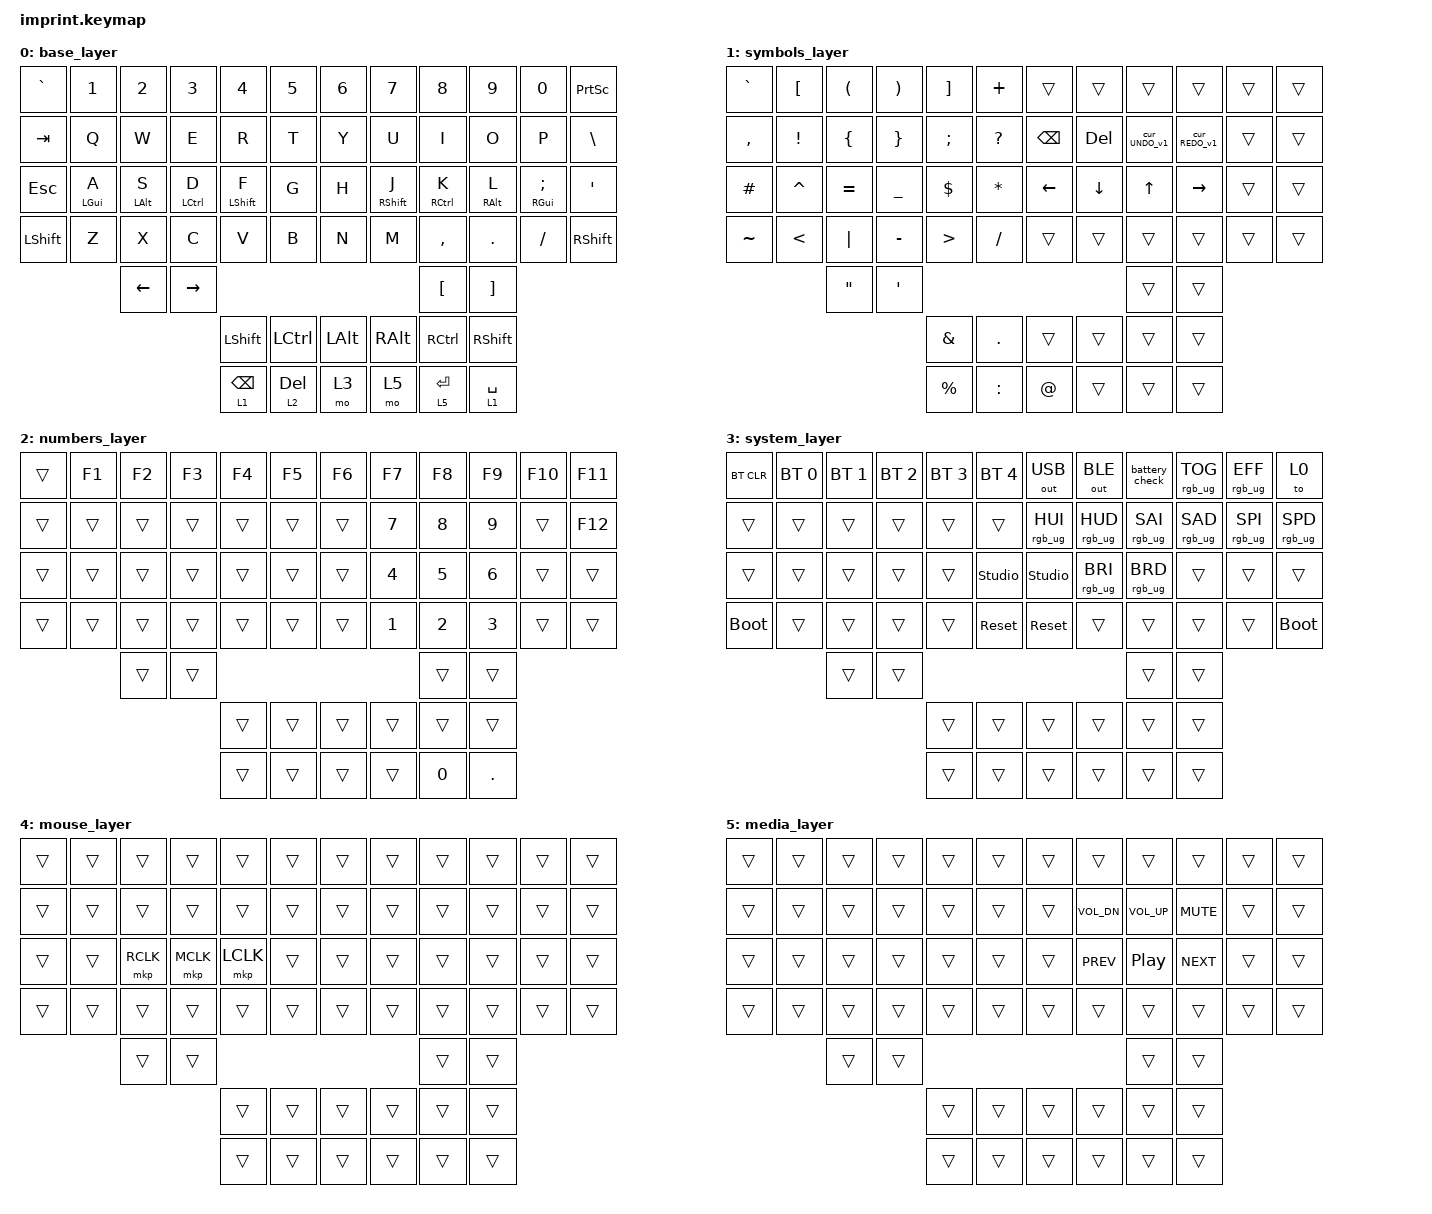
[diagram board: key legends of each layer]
#include <input/processors.dtsi>
#include <dt-bindings/zmk/input_transform.h>
#include <behaviors.dtsi>
#include <dt-bindings/zmk/bt.h>
#include <dt-bindings/zmk/keys.h>
#include <dt-bindings/zmk/outputs.h>
#include <dt-bindings/zmk/pointing.h>
#include <dt-bindings/zmk/rgb.h>

/ {
    chosen { zmk,physical-layout = &physical_layout_imprint_number_row; };

    // -------------------------------------------------------------------------
    // Layer map:
    // 0 base_layer         typing, HRMs, and thumb layer access
    // 1 symbols_layer      symbols on left, light editing/navigation on right
    // 2 numbers_layer      F-keys and right-hand numpad
    // 3 system_layer       Bluetooth, output, RGB, Studio, reset/bootloader
    // 4 mouse_layer        left-hand mouse buttons
    // 5 media_layer        right-hand media controls
    // -------------------------------------------------------------------------
    // -------------------------------------------------------------------------
    // Behaviors
    // -------------------------------------------------------------------------

    behaviors {
        // Caps Word combo behavior.

        CAPSWord_v1: CAPSWord_v1 {
            compatible = "zmk,behavior-hold-tap";
            #binding-cells = <2>;
            tapping-term-ms = <200>;
            bindings = <&kp>, <&caps_word>;
        };

        // Home-row mods are split by side/finger so each can tune timing and opposite-hand triggers.

        HRM_left_index_v1: HRM_left_index_v1 {
            compatible = "zmk,behavior-hold-tap";
            #binding-cells = <2>;
            tapping-term-ms = <170>;
            bindings = <&kp>, <&kp>;

            flavor = "tap-preferred";
            quick-tap-ms = <300>;
            require-prior-idle-ms = <100>;
            hold-trigger-key-positions = <45 44 43 60 61 62 4 5 6 7 8 16 17 18 19 20 28 29 30 31 32 46 47 48 49 50 63 9 21 33 51 40 41 42 58 59 57>;
            hold-trigger-on-release;
        };

        HRM_left_middy_v1: HRM_left_middy_v1 {
            compatible = "zmk,behavior-hold-tap";
            #binding-cells = <2>;
            tapping-term-ms = <210>;
            bindings = <&kp>, <&kp>;

            flavor = "tap-preferred";
            quick-tap-ms = <300>;
            require-prior-idle-ms = <150>;
            hold-trigger-key-positions = <45 44 43 60 61 62 4 5 6 7 8 16 17 18 19 20 28 29 30 31 32 46 47 48 49 50 63 9 21 33 51 40 41 42 57 58 59>;
            hold-trigger-on-release;
        };

        HRM_left_pinky_v1: HRM_left_pinky_v1 {
            compatible = "zmk,behavior-hold-tap";
            #binding-cells = <2>;
            tapping-term-ms = <210>;
            bindings = <&kp>, <&kp>;

            flavor = "tap-preferred";
            quick-tap-ms = <300>;
            require-prior-idle-ms = <150>;
            hold-trigger-key-positions = <45 44 43 60 61 62 4 5 6 7 8 9 17 18 19 20 21 30 31 32 33 48 49 50 51 16 28 29 46 47 63 40 41 42 57 58 59>;
            hold-trigger-on-release;
        };

        HRM_left_ring_v1: HRM_left_ring_v1 {
            compatible = "zmk,behavior-hold-tap";
            #binding-cells = <2>;
            tapping-term-ms = <200>;
            bindings = <&kp>, <&kp>;

            flavor = "tap-preferred";
            quick-tap-ms = <300>;
            require-prior-idle-ms = <150>;
            hold-trigger-key-positions = <45 44 43 60 61 62 4 5 6 7 8 16 17 18 19 20 28 29 30 31 32 46 47 48 49 50 63 9 21 33 51 40 41 42 57 58 59>;
            hold-trigger-on-release;
        };

        HRM_right_index_v1: HRM_right_index_v1 {
            compatible = "zmk,behavior-hold-tap";
            #binding-cells = <2>;
            tapping-term-ms = <170>;
            bindings = <&kp>, <&kp>;

            flavor = "tap-preferred";
            quick-tap-ms = <300>;
            require-prior-idle-ms = <100>;
            hold-trigger-key-positions = <40 41 42 59 58 57 0 1 2 10 11 12 13 14 15 22 23 24 25 26 27 34 35 36 37 38 39 52 53 54 55 56 3 43 44 45 60 61 62>;
            hold-trigger-on-release;
        };

        HRM_right_middy_v1: HRM_right_middy_v1 {
            compatible = "zmk,behavior-hold-tap";
            #binding-cells = <2>;
            tapping-term-ms = <210>;
            bindings = <&kp>, <&kp>;

            flavor = "tap-preferred";
            quick-tap-ms = <300>;
            require-prior-idle-ms = <150>;
            hold-trigger-key-positions = <40 41 42 59 58 57 0 1 2 10 11 12 13 14 15 22 23 24 25 26 27 34 35 36 37 38 39 52 53 54 55 56 3 43 44 45 60 61 62>;
            hold-trigger-on-release;
        };

        HRM_right_pinky_v1: HRM_right_pinky_v1 {
            compatible = "zmk,behavior-hold-tap";
            #binding-cells = <2>;
            tapping-term-ms = <210>;
            bindings = <&kp>, <&kp>;

            flavor = "tap-preferred";
            quick-tap-ms = <300>;
            require-prior-idle-ms = <150>;
            hold-trigger-key-positions = <40 41 42 59 58 57 0 1 2 10 11 12 13 14 15 22 23 24 25 26 27 34 35 36 37 38 39 52 53 54 55 56 3 43 44 45 60 61 62>;
            hold-trigger-on-release;
        };

        HRM_right_ring_v1: HRM_right_ring_v1 {
            compatible = "zmk,behavior-hold-tap";
            #binding-cells = <2>;
            tapping-term-ms = <200>;
            bindings = <&kp>, <&kp>;

            flavor = "tap-preferred";
            quick-tap-ms = <300>;
            require-prior-idle-ms = <150>;
            hold-trigger-key-positions = <40 41 42 59 58 57 0 1 2 10 11 12 13 14 15 22 23 24 25 26 27 34 35 36 37 38 39 52 53 54 55 56 3 43 44 45 60 61 62>;
            hold-trigger-on-release;
        };

        space_v1: space_v1 {
            compatible = "zmk,behavior-hold-tap";
            #binding-cells = <2>;
            tapping-term-ms = <200>;
            bindings = <&mo>, <&kp>;

            flavor = "balanced";
            quick-tap-ms = <150>;
            retro-tap;
        };

        thumb_v1: thumb_v1 {
            compatible = "zmk,behavior-hold-tap";
            #binding-cells = <2>;
            tapping-term-ms = <170>;
            bindings = <&mo>, <&kp>;

            flavor = "balanced";
            quick-tap-ms = <300>;
        };
    };

    // -------------------------------------------------------------------------
    // Combos
    // -------------------------------------------------------------------------

    combos {
        compatible = "zmk,combos";

        // Bottom thumb row pair.

        capsword {
            bindings = <&CAPSWord_v1 LSHIFT 0>;
            key-positions = <52 57>;
        };
    };

    // -------------------------------------------------------------------------
    // Macros
    // -------------------------------------------------------------------------

    macros {
        cur_UNDO_v1: cur_UNDO_v1 {
            label = "&CUR_UNDO_V1";
            compatible = "zmk,behavior-macro";
            #binding-cells = <0>;
            bindings = <&kp LC(Z)>;
        };

        cur_REDO_v1: cur_REDO_v1 {
            label = "&CUR_REDO_V1";
            compatible = "zmk,behavior-macro";
            #binding-cells = <0>;
            bindings = <&kp LC(Y)>;
        };

        battery_check: battery_check {
            label = "BATTERY_CHECK";
            compatible = "zmk,behavior-macro";
            #binding-cells = <0>;
            bindings =
                <&rgb_ug RGB_COLOR_HSB(120,100,50)>,
                <&macro_pause_for_release>,
                <&rgb_ug RGB_TOG>;
        };
    };

    // -------------------------------------------------------------------------
    // Keymap
    // -------------------------------------------------------------------------

    keymap {
        compatible = "zmk,keymap";

        // Base typing layer. Thumb holds: symbols, numbers, system, media, and mouse.
        // ,-------------------------------------------------.                 ,-------------------------------------------------.
        // |   `   |   1   |   2   |   3   |   4   |   5   |                 |   6   |   7   |   8   |   9   |   0   |  PSCR |
        // |-------+-------+-------+-------+-------+-------|                 |-------+-------+-------+-------+-------+-------|
        // |  TAB  |   Q   |   W   |   E   |   R   |   T   |                 |   Y   |   U   |   I   |   O   |   P   |   \   |
        // |-------+-------+-------+-------+-------+-------|                 |-------+-------+-------+-------+-------+-------|
        // |  ESC  | GUI/A | ALT/S | CTL/D | SFT/F |   G   |                 |   H   | SFT/J | CTL/K | ALT/L | GUI/; |   '   |
        // |-------+-------+-------+-------+-------+-------|                 |-------+-------+-------+-------+-------+-------|
        // | LSHFT |   Z   |   X   |   C   |   V   |   B   |                 |   N   |   M   |   ,   |   .   |   /   | RSHFT |
        // `---------------+-------+-------+---------------'                 `---------------+-------+-------+---------------'
        //                 | LEFT  | RIGHT |                                                   |   [   |   ]   |
        //                 `---------------'                 ,-------------------------------. `---------------'
        //                                                   | LSHFT | LCTRL | LALT  | RALT  | RCTRL | RSHFT |
        //                                                   |-------+-------+-------+-------+-------+-------|
        //                                                   | SYM/B | NUM/D |  SYS  | MEDIA | MED/E | SYM/SP|
        //                                                   `-----------------------------------------------'

        base_layer {
            bindings = <
&kp GRAVE   &kp N1                     &kp N2                    &kp N3                      &kp N4                       &kp N5                              &kp N6         &kp N7                             &kp N8                       &kp N9                     &kp N0                         &kp PRINTSCREEN
&kp TAB     &kp Q                      &kp W                     &kp E                       &kp R                        &kp T                               &kp Y          &kp U                              &kp I                        &kp O                      &kp P                          &kp BSLH
&kp ESCAPE  &HRM_left_pinky_v1 LGUI A  &HRM_left_ring_v1 LALT S  &HRM_left_middy_v1 LCTRL D  &HRM_left_index_v1 LSHIFT F  &kp G                               &kp H          &HRM_right_index_v1 RIGHT_SHIFT J  &HRM_right_middy_v1 RCTRL K  &HRM_right_ring_v1 RALT L  &HRM_right_pinky_v1 RGUI SEMI  &kp SQT
&kp LSHFT   &kp Z                      &kp X                     &kp C                       &kp V                        &kp B                               &kp N          &kp M                              &kp COMMA                    &kp DOT                    &kp FSLH                       &kp RSHFT
                                       &kp LEFT                  &kp RIGHT                                                                                                                                      &kp LEFT_BRACKET             &kp RIGHT_BRACKET
                                                                                             &kp LEFT_SHIFT               &kp LCTRL           &kp LEFT_ALT    &kp RIGHT_ALT  &kp RIGHT_CONTROL                  &kp RIGHT_SHIFT
                                                                                             &thumb_v1 1 BACKSPACE        &thumb_v1 2 DELETE  &mo 3           &mo 5          &thumb_v1 5 ENTER                  &space_v1 1 SPACE
            >;
        };

        // Symbols on the left half. Right half keeps only basic edit/nav keys that are used.
        // ,-------------------------------------------------.                 ,-------------------------------------------------.
        // |   `   |   [   |   (   |   )   |   ]   |   +   |                 | trans | trans | trans | trans | trans | trans |
        // |-------+-------+-------+-------+-------+-------|                 |-------+-------+-------+-------+-------+-------|
        // |   ,   |   !   |   {   |   }   |   ;   |   ?   |                 | BSPC  |  DEL  | UNDO  | REDO  | trans | trans |
        // |-------+-------+-------+-------+-------+-------|                 |-------+-------+-------+-------+-------+-------|
        // |   #   |   ^   |   =   |   _   |   $   |   *   |                 | LEFT  | DOWN  |  UP   | RIGHT | trans | trans |
        // |-------+-------+-------+-------+-------+-------|                 |-------+-------+-------+-------+-------+-------|
        // |   ~   |   <   |   |   |   -   |   >   |   /   |                 | trans | trans | trans | trans | trans | trans |
        // `---------------+-------+-------+---------------'                 `---------------+-------+-------+---------------'
        //                 |   "   |   '   |                                                   | trans | trans |
        //                 `---------------'                 ,-------------------------------. `---------------'
        //                                                   |   &   |   .   | trans | trans | trans | trans |
        //                                                   |-------+-------+-------+-------+-------+-------|
        //                                                   |   %   |   :   |   @   | trans | trans | trans |
        //                                                   `-----------------------------------------------'

        symbols_layer {
            bindings = <
&kp GRAVE  &kp LBKT   &kp LPAR           &kp RPAR   &kp RBKT       &kp PLUS                  &trans    &trans    &trans        &trans        &trans  &trans
&kp COMMA  &kp EXCL   &kp LBRC           &kp RBRC   &kp SEMI       &kp QMARK                 &kp BSPC  &kp DEL   &cur_UNDO_v1  &cur_REDO_v1  &trans  &trans
&kp HASH   &kp CARET  &kp EQUAL          &kp UNDER  &kp DLLR       &kp ASTRK                 &kp LEFT  &kp DOWN  &kp UP        &kp RIGHT     &trans  &trans
&kp TILDE  &kp LT     &kp PIPE           &kp MINUS  &kp GT         &kp FSLH                  &trans    &trans    &trans        &trans        &trans  &trans
                      &kp DOUBLE_QUOTES  &kp SQT                                                                 &trans        &trans
                                                    &kp AMPERSAND  &kp DOT    &trans         &trans    &trans    &trans
                                                    &kp PRCNT      &kp COLON  &kp AT_SIGN    &trans    &trans    &trans
            >;
        };

        // Function keys across the top and numpad on the right half.
        // ,-------------------------------------------------.                 ,-------------------------------------------------.
        // | trans |  F1   |  F2   |  F3   |  F4   |  F5   |                 |  F6   |  F7   |  F8   |  F9   |  F10  |  F11  |
        // |-------+-------+-------+-------+-------+-------|                 |-------+-------+-------+-------+-------+-------|
        // | trans | trans | trans | trans | trans | trans |                 | trans |   7   |   8   |   9   | trans |  F12  |
        // |-------+-------+-------+-------+-------+-------|                 |-------+-------+-------+-------+-------+-------|
        // | trans | trans | trans | trans | trans | trans |                 | trans |   4   |   5   |   6   | trans | trans |
        // |-------+-------+-------+-------+-------+-------|                 |-------+-------+-------+-------+-------+-------|
        // | trans | trans | trans | trans | trans | trans |                 | trans |   1   |   2   |   3   | trans | trans |
        // `---------------+-------+-------+---------------'                 `---------------+-------+-------+---------------'
        //                 | trans | trans |                                                   | trans | trans |
        //                 `---------------'                 ,-------------------------------. `---------------'
        //                                                   | trans | trans | trans | trans | trans | trans |
        //                                                   |-------+-------+-------+-------+-------+-------|
        //                                                   | trans | trans | trans | trans |   0   |   .   |
        //                                                   `-----------------------------------------------'

        numbers_layer {
            bindings = <
&trans  &kp F1  &kp F2  &kp F3  &kp F4  &kp F5            &kp F6  &kp F7  &kp F8   &kp F9  &kp F10  &kp F11
&trans  &trans  &trans  &trans  &trans  &trans            &trans  &kp N7  &kp N8   &kp N9  &trans   &kp F12
&trans  &trans  &trans  &trans  &trans  &trans            &trans  &kp N4  &kp N5   &kp N6  &trans   &trans
&trans  &trans  &trans  &trans  &trans  &trans            &trans  &kp N1  &kp N2   &kp N3  &trans   &trans
                &trans  &trans                                            &trans   &trans
                                &trans  &trans  &trans    &trans  &trans  &trans
                                &trans  &trans  &trans    &trans  &kp N0  &kp DOT
            >;
        };

        // Keyboard admin layer: Bluetooth, USB/BLE output, RGB, Studio, reset, and bootloader.
        // ,-------------------------------------------------.                 ,-------------------------------------------------.
        // |BT_CLR | BT 0  | BT 1  | BT 2  | BT 3  | BT 4  |                 |  USB  |  BLE  | BATT  |RGB_TOG|RGB_EFF| TO 0  |
        // |-------+-------+-------+-------+-------+-------|                 |-------+-------+-------+-------+-------+-------|
        // | trans | trans | trans | trans | trans | trans |                 | HUE+  | HUE-  | SAT+  | SAT-  | SPD+  | SPD-  |
        // |-------+-------+-------+-------+-------+-------|                 |-------+-------+-------+-------+-------+-------|
        // | trans | trans | trans | trans | trans |STUDIO |                 |STUDIO | BRI+  | BRI-  | trans | trans | trans |
        // |-------+-------+-------+-------+-------+-------|                 |-------+-------+-------+-------+-------+-------|
        // | BOOT  | trans | trans | trans | trans | RESET |                 | RESET | trans | trans | trans | trans | BOOT  |
        // `---------------+-------+-------+---------------'                 `---------------+-------+-------+---------------'
        //                 | trans | trans |                                                   | trans | trans |
        //                 `---------------'                 ,-------------------------------. `---------------'
        //                                                   | trans | trans | trans | trans | trans | trans |
        //                                                   |-------+-------+-------+-------+-------+-------|
        //                                                   | trans | trans | trans | trans | trans | trans |
        //                                                   `-----------------------------------------------'

        system_layer {
            bindings = <
&bt BT_CLR   &bt BT_SEL 0  &bt BT_SEL 1  &bt BT_SEL 2  &bt BT_SEL 3  &bt BT_SEL 4              &out OUT_USB     &out OUT_BLE     &battery_check   &rgb_ug RGB_TOG  &rgb_ug RGB_EFF  &to 0
&trans       &trans        &trans        &trans        &trans        &trans                    &rgb_ug RGB_HUI  &rgb_ug RGB_HUD  &rgb_ug RGB_SAI  &rgb_ug RGB_SAD  &rgb_ug RGB_SPI  &rgb_ug RGB_SPD
&trans       &trans        &trans        &trans        &trans        &studio_unlock            &studio_unlock   &rgb_ug RGB_BRI  &rgb_ug RGB_BRD  &trans           &trans           &trans
&bootloader  &trans        &trans        &trans        &trans        &sys_reset                &sys_reset       &trans           &trans           &trans           &trans           &bootloader
                           &trans        &trans                                                                                  &trans           &trans
                                                       &trans        &trans          &trans    &trans           &trans           &trans
                                                       &trans        &trans          &trans    &trans           &trans           &trans
            >;
        };

        // Auto-mouse layer: left half mouse buttons only.
        // ,-------------------------------------------------.                 ,-------------------------------------------------.
        // | trans | trans | trans | trans | trans | trans |                 | trans | trans | trans | trans | trans | trans |
        // |-------+-------+-------+-------+-------+-------|                 |-------+-------+-------+-------+-------+-------|
        // | trans | trans | trans | trans | trans | trans |                 | trans | trans | trans | trans | trans | trans |
        // |-------+-------+-------+-------+-------+-------|                 |-------+-------+-------+-------+-------+-------|
        // | trans | trans | RCLK  | MCLK  | LCLK  | trans |                 | trans | trans | trans | trans | trans | trans |
        // |-------+-------+-------+-------+-------+-------|                 |-------+-------+-------+-------+-------+-------|
        // | trans | trans | trans | trans | trans | trans |                 | trans | trans | trans | trans | trans | trans |
        // `---------------+-------+-------+---------------'                 `---------------+-------+-------+---------------'
        //                 | trans | trans |                                                   | trans | trans |
        //                 `---------------'                 ,-------------------------------. `---------------'
        //                                                   | trans | trans | trans | trans | trans | trans |
        //                                                   |-------+-------+-------+-------+-------+-------|
        //                                                   | trans | trans | trans | trans | trans | trans |
        //                                                   `-----------------------------------------------'

        mouse_layer {
            bindings = <
&trans  &trans  &trans     &trans     &trans     &trans            &trans  &trans  &trans  &trans  &trans  &trans
&trans  &trans  &trans     &trans     &trans     &trans            &trans  &trans  &trans  &trans  &trans  &trans
&trans  &trans  &mkp RCLK  &mkp MCLK  &mkp LCLK  &trans            &trans  &trans  &trans  &trans  &trans  &trans
&trans  &trans  &trans     &trans     &trans     &trans            &trans  &trans  &trans  &trans  &trans  &trans
                &trans     &trans                                      &trans  &trans
                                      &trans     &trans  &trans    &trans  &trans  &trans
                                      &trans     &trans  &trans    &trans  &trans  &trans
            >;
        };

        // Media layer: right-hand media controls only.
        // ,-------------------------------------------------.                 ,-------------------------------------------------.
        // | trans | trans | trans | trans | trans | trans |                 | trans | trans | trans | trans | trans | trans |
        // |-------+-------+-------+-------+-------+-------|                 |-------+-------+-------+-------+-------+-------|
        // | trans | trans | trans | trans | trans | trans |                 | trans | VOL-  | VOL+  | MUTE  | trans | trans |
        // |-------+-------+-------+-------+-------+-------|                 |-------+-------+-------+-------+-------+-------|
        // | trans | trans | trans | trans | trans | trans |                 | trans | PREV  | PLAY  | NEXT  | trans | trans |
        // |-------+-------+-------+-------+-------+-------|                 |-------+-------+-------+-------+-------+-------|
        // | trans | trans | trans | trans | trans | trans |                 | trans | trans | trans | trans | trans | trans |
        // `---------------+-------+-------+---------------'                 `---------------+-------+-------+---------------'
        //                 | trans | trans |                                                   | trans | trans |
        //                 `---------------'                 ,-------------------------------. `---------------'
        //                                                   | trans | trans | trans | trans | trans | trans |
        //                                                   |-------+-------+-------+-------+-------+-------|
        //                                                   | trans | trans | trans | trans | trans | trans |
        //                                                   `-----------------------------------------------'

        media_layer {
            bindings = <
&trans  &trans  &trans  &trans  &trans  &trans            &trans  &trans        &trans           &trans      &trans  &trans
&trans  &trans  &trans  &trans  &trans  &trans            &trans  &kp C_VOL_DN  &kp C_VOLUME_UP  &kp K_MUTE  &trans  &trans
&trans  &trans  &trans  &trans  &trans  &trans            &trans  &kp C_PREV    &kp C_PP         &kp C_NEXT  &trans  &trans
&trans  &trans  &trans  &trans  &trans  &trans            &trans  &trans        &trans           &trans      &trans  &trans
                &trans  &trans                                                        &trans      &trans
                                &trans  &trans  &trans    &trans  &trans        &trans
                                &trans  &trans  &trans    &trans  &trans        &trans
            >;
        };
    };
};

// -----------------------------------------------------------------------------
// Trackball Processing
// -----------------------------------------------------------------------------
// The central trackball scrolls by default.

&trackball_central_listener {
    input-processors =
        <&zip_xy_scaler 1 16>,
        <&zip_xy_to_scroll_mapper>,
        <&zip_scroll_transform INPUT_TRANSFORM_Y_INVERT>;
};

// The peripheral trackball temporarily activates the mouse layer.

&trackball_peripheral_listener { input-processors = <&zip_temp_layer 4 500>; };
